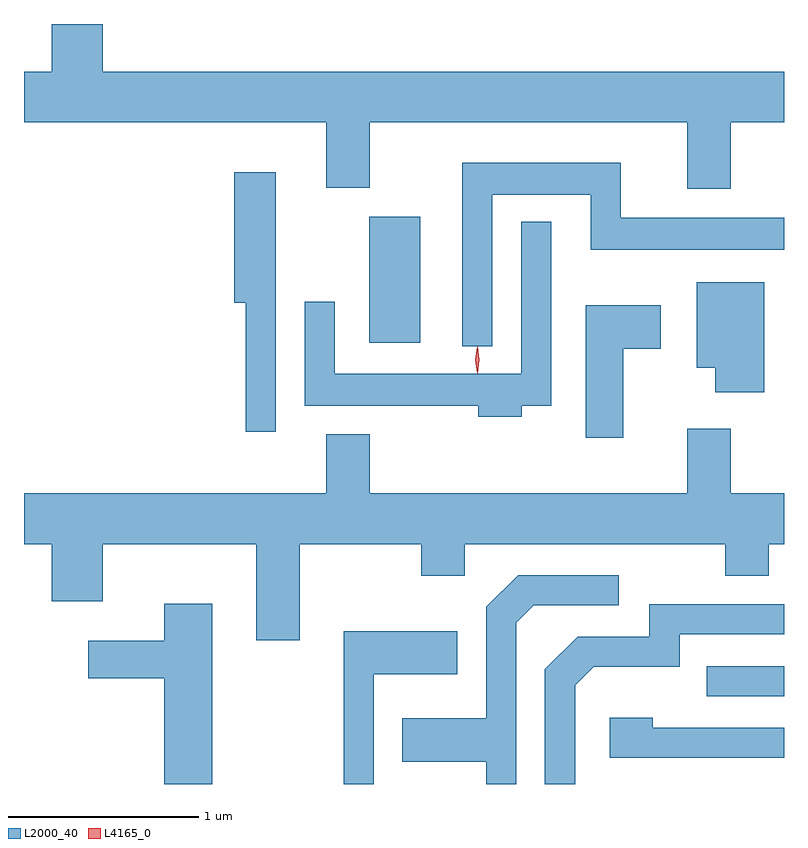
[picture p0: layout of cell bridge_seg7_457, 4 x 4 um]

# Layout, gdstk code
import gdstk
lib = gdstk.Library(unit=1e-6, precision=1e-09)
def R(c, l, rs):  # rectangles x0, y0, x1, y1
    for r in rs: c.add(gdstk.rectangle(r[:2], r[2:], *l))
def P(c, l, *ps):  # polygons
    for p in ps: c.add(gdstk.Polygon(p, *l))
L2000_40 = (2000, 40)
L4165_0 = (4165, 0)

bridge_seg7_457 = lib.new_cell('bridge_seg7_457')
R(bridge_seg7_457, L2000_40, [(1117.623,1702.416,1118.029,1702.574), (1115.846,1704.276,1116.114,1704.939)])
P(bridge_seg7_457, L2000_40, [(1115.621,1705.091),(1115.849,1705.091),(1115.849,1705.436),(1117.521,1705.436),(1117.521,1705.086),(1117.749,1705.086),(1117.749,1705.436),(1118.029,1705.436),(1118.029,1705.704),(1114.444,1705.704),(1114.444,1705.954),(1114.176,1705.954),(1114.176,1705.704),(1114.029,1705.704),(1114.029,1705.436),(1115.621,1705.436)],
  [(1116.494,1705.056),(1117.011,1705.056),(1117.011,1704.766),(1118.029,1704.766),(1118.029,1704.934),(1117.169,1704.934),(1117.169,1705.224),(1116.336,1705.224),(1116.336,1704.258),(1116.494,1704.258)],
  [(1115.354,1705.174),(1115.136,1705.174),(1115.136,1704.486),(1115.196,1704.486),(1115.196,1703.808),(1115.354,1703.808)],
  [(1116.649,1703.946),(1116.804,1703.946),(1116.804,1704.913),(1116.646,1704.913),(1116.646,1704.114),(1115.664,1704.114),(1115.664,1704.493),(1115.506,1704.493),(1115.506,1703.946),(1116.421,1703.946),(1116.421,1703.886),(1116.649,1703.886)],
  [(1117.924,1704.594),(1117.571,1704.594),(1117.571,1704.146),(1117.666,1704.146),(1117.666,1704.016),(1117.924,1704.016)],
  [(1117.184,1704.246),(1117.379,1704.246),(1117.379,1704.474),(1116.986,1704.474),(1116.986,1703.776),(1117.184,1703.776)],
  [(1115.479,1703.216),(1116.121,1703.216),(1116.121,1703.051),(1116.349,1703.051),(1116.349,1703.216),(1117.721,1703.216),(1117.721,1703.051),(1117.949,1703.051),(1117.949,1703.216),(1118.029,1703.216),(1118.029,1703.484),(1117.749,1703.484),(1117.749,1703.824),(1117.521,1703.824),(1117.521,1703.484),(1115.849,1703.484),(1115.849,1703.794),(1115.621,1703.794),(1115.621,1703.484),(1114.029,1703.484),(1114.029,1703.216),(1114.176,1703.216),(1114.176,1702.916),(1114.444,1702.916),(1114.444,1703.216),(1115.251,1703.216),(1115.251,1702.711),(1115.479,1702.711)],
  [(1116.619,1702.804),(1116.712,1702.896),(1117.158,1702.896),(1117.158,1703.054),(1116.629,1703.054),(1116.461,1702.887),(1116.461,1702.299),(1116.021,1702.299),(1116.021,1702.071),(1116.461,1702.071),(1116.461,1701.954),(1116.619,1701.954)],
  [(1115.019,1702.904),(1114.766,1702.904),(1114.766,1702.709),(1114.366,1702.709),(1114.366,1702.511),(1114.766,1702.511),(1114.766,1701.954),(1115.019,1701.954)],
  [(1116.929,1702.474),(1117.027,1702.571),(1117.479,1702.571),(1117.479,1702.741),(1118.029,1702.741),(1118.029,1702.899),(1117.321,1702.899),(1117.321,1702.729),(1116.944,1702.729),(1116.771,1702.557),(1116.771,1701.954),(1116.929,1701.954)],
  [(1115.869,1702.531),(1116.309,1702.531),(1116.309,1702.759),(1115.711,1702.759),(1115.711,1701.954),(1115.869,1701.954)],
  [(1118.029,1702.249),(1117.339,1702.249),(1117.339,1702.304),(1117.111,1702.304),(1117.111,1702.091),(1118.029,1702.091)])
P(bridge_seg7_457, L4165_0, [(1116.414,1704.117),(1116.405,1704.186),(1116.414,1704.256),(1116.415,1704.256),(1116.416,1704.256),(1116.425,1704.186),(1116.416,1704.117),(1116.415,1704.117)])

lib.write_gds('bridge_seg7_457.gds')
